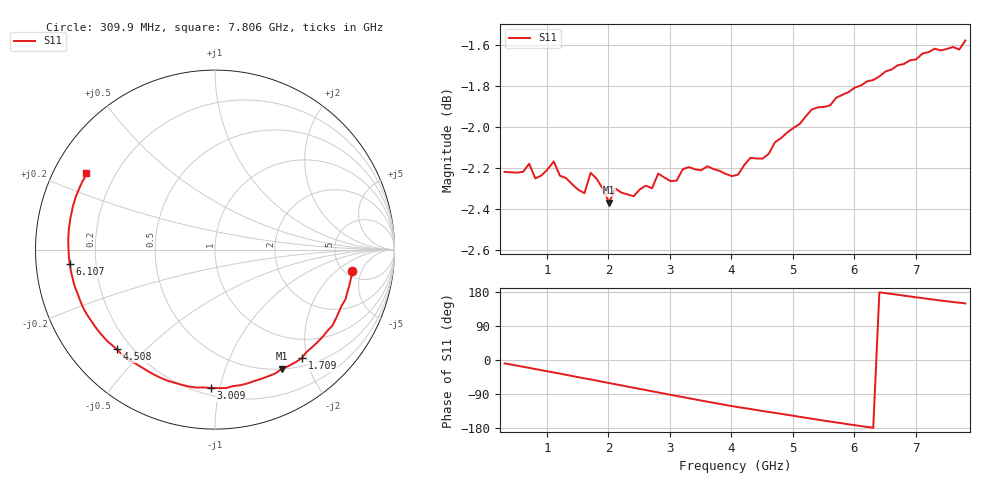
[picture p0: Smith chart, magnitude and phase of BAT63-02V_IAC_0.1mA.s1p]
! Infineon Technologies  Discrete & RF Semiconductors
! BAT63-02V
! IAC = 0.1 mA
! One-Port S-Parameters
# Hz  S  MA  R  50
!f  S11
!Hz  Mag  Ang
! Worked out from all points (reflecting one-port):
!   76 points, 309.9 MHz to 7.806 GHz, reference 50 ohm
!   lowest |S11| = -2.4 dB at 2.009 GHz (marker M1), VSWR 7.38, Z = 25.2 - j79.5 ohm
!   phase of S11 starts at -9 deg and turns -202 deg over the sweep
!   S11 on the Smith chart (normalised r, x): 309.9 MHz: 5.72, -3.47; 1.709 GHz: 0.64, -1.91; 3.009 GHz: 0.25, -0.94; 4.508 GHz: 0.14, -0.41; 6.107 GHz: 0.10, -0.05; 7.806 GHz: 0.10, +0.27
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3.0985e8  0.7746 -9.0
7.0965e8  0.7781 -20.7
1.10945e9  0.7791 -32.9
1.30935e9  0.7719 -39.1
1.6092e9  0.7654 -48.4
1.70915e9  0.7742 -51.3
2.009e9  0.7614 -60.7
2.10895e9  0.7675 -63.9
2.2089e9  0.7657 -66.9
2.6087e9  0.7686 -79.2
2.8086e9  0.7739 -85.5
3.0085e9  0.7706 -91.8
3.2084e9  0.7758 -97.8
3.6082e9  0.777 -109.9
4.10795e9  0.7734 -124.4
4.30785e9  0.7807 -129.3
4.50775e9  0.7803 -134.6
4.70765e9  0.7875 -139.5
5.0075e9  0.7938 -147.2
5.4073e9  0.8031 -157.5
5.70715e9  0.8075 -164.9
6.007e9  0.812 -172.0
6.10695e9  0.813 -174.4
6.50675e9  0.8193 176.5
6.90655e9  0.8245 167.7
7.10645e9  0.8276 163.4
7.4063e9  0.8291 156.8
7.8061e9  0.8337 149.3
